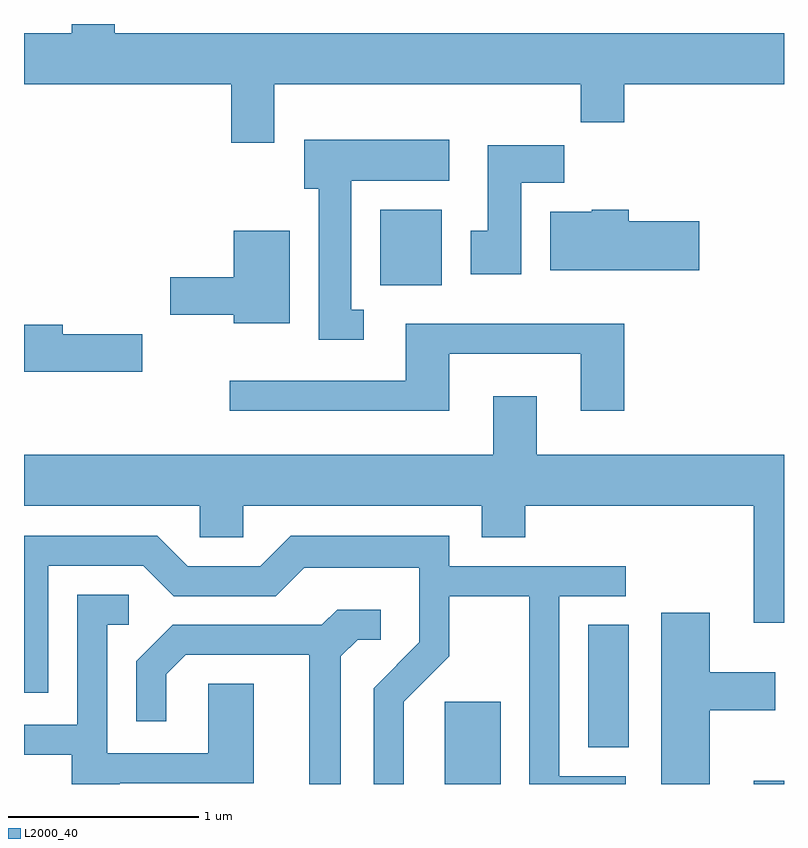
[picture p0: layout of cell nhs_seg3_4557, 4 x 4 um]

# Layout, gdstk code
import gdstk
lib = gdstk.Library(unit=1e-6, precision=1e-09)
def R(c, l, rs):  # rectangles x0, y0, x1, y1
    for r in rs: c.add(gdstk.rectangle(r[:2], r[2:], *l))
def P(c, l, *ps):  # polygons
    for p in ps: c.add(gdstk.Polygon(p, *l))
L2000_40 = (2000, 40)

nhs_seg3_4557 = lib.new_cell('nhs_seg3_4557')
R(nhs_seg3_4557, L2000_40, [(321.826,1117.892,322.119,1118.324), (323.451,1117.892,323.611,1117.909), (322.581,1118.086,322.794,1118.729), (321.486,1120.516,321.809,1120.914)])
P(nhs_seg3_4557, L2000_40, [(320.929,1121.576),(322.541,1121.576),(322.541,1121.376),(322.769,1121.376),(322.769,1121.576),(323.611,1121.576),(323.611,1121.844),(320.089,1121.844),(320.089,1121.892),(319.861,1121.892),(319.861,1121.844),(319.611,1121.844),(319.611,1121.576),(320.701,1121.576),(320.701,1121.266),(320.929,1121.266)],
  [(321.398,1120.389),(321.334,1120.389),(321.334,1121.066),(321.849,1121.066),(321.849,1121.284),(321.086,1121.284),(321.086,1121.026),(321.161,1121.026),(321.161,1120.231),(321.398,1120.231)],
  [(322.229,1121.056),(322.454,1121.056),(322.454,1121.254),(322.051,1121.254),(322.051,1120.804),(321.961,1120.804),(321.961,1120.576),(322.229,1120.576)],
  [(323.164,1120.854),(322.794,1120.854),(322.794,1120.914),(322.6,1120.914),(322.6,1120.904),(322.381,1120.904),(322.381,1120.596),(323.164,1120.596)],
  [(321.009,1120.804),(320.716,1120.804),(320.716,1120.559),(320.381,1120.559),(320.381,1120.361),(320.716,1120.361),(320.716,1120.316),(321.009,1120.316)],
  [(321.849,1120.156),(322.541,1120.156),(322.541,1119.856),(322.769,1119.856),(322.769,1120.314),(321.621,1120.314),(321.621,1120.014),(320.693,1120.014),(320.693,1119.856),(321.849,1119.856)],
  [(320.234,1120.259),(319.814,1120.259),(319.814,1120.309),(319.611,1120.309),(319.611,1120.061),(320.234,1120.061)],
  [(322.249,1119.356),(323.451,1119.356),(323.451,1118.741),(323.611,1118.741),(323.611,1119.624),(322.309,1119.624),(322.309,1119.934),(322.081,1119.934),(322.081,1119.624),(319.611,1119.624),(319.611,1119.356),(320.536,1119.356),(320.536,1119.191),(320.764,1119.191),(320.764,1119.356),(322.021,1119.356),(322.021,1119.191),(322.249,1119.191)],
  [(321.609,1118.324),(321.849,1118.564),(321.849,1118.881),(322.271,1118.881),(322.271,1117.892),(322.778,1117.892),(322.778,1117.934),(322.429,1117.934),(322.429,1118.881),(322.778,1118.881),(322.778,1119.039),(321.849,1119.039),(321.849,1119.199),(321.014,1119.199),(320.854,1119.039),(320.472,1119.039),(320.312,1119.199),(319.611,1119.199),(319.611,1118.371),(319.739,1118.371),(319.739,1119.041),(320.239,1119.041),(320.399,1118.881),(320.937,1118.881),(321.087,1119.031),(321.691,1119.031),(321.691,1118.637),(321.451,1118.397),(321.451,1117.892),(321.609,1117.892)],
  [(320.115,1117.896),(320.819,1117.896),(320.819,1118.419),(320.581,1118.419),(320.581,1118.054),(320.049,1118.054),(320.049,1118.731),(320.163,1118.731),(320.163,1118.889),(319.891,1118.889),(319.891,1118.204),(319.611,1118.204),(319.611,1118.046),(319.861,1118.046),(319.861,1117.892),(320.115,1117.892)],
  [(321.279,1118.564),(321.367,1118.651),(321.488,1118.651),(321.488,1118.809),(321.259,1118.809),(321.179,1118.729),(320.394,1118.729),(320.201,1118.537),(320.201,1118.223),(320.359,1118.223),(320.359,1118.469),(320.462,1118.571),(321.111,1118.571),(321.111,1117.892),(321.279,1117.892)],
  [(323.219,1118.281),(323.564,1118.281),(323.564,1118.479),(323.219,1118.479),(323.219,1118.794),(322.966,1118.794),(322.966,1117.892),(323.219,1117.892)])

lib.write_gds('nhs_seg3_4557.gds')
